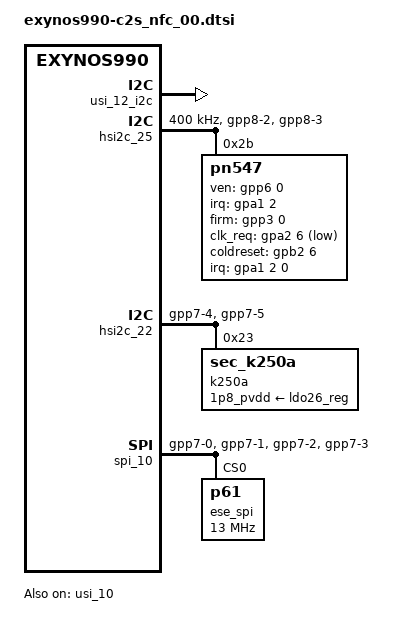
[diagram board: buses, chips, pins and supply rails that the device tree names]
/* Copyright (c) 2013, Samsung Electronics Corporation. All rights reserved.
 *
 * This program is free software; you can redistribute it and/or modify
 * it under the terms of the GNU General Public License version 2 and
 * only version 2 as published by the Free Software Foundation.
 *
 * This program is distributed in the hope that it will be useful,
 * but WITHOUT ANY WARRANTY; without even the implied warranty of
 * MERCHANTABILITY or FITNESS FOR A PARTICULAR PURPOSE.  See the
 * GNU General Public License for more details.
 */

&usi_12_i2c {
	usi_v2_mode = "i2c";
	status = "okay";
};

&pinctrl_4 {	/*10430000*/
	nfc_firm: nfc_firm {
		samsung,pins = "gpp3-0";
		samsung,pin-function = <1>;
		samsung,pin-pud = <0>;
		samsung,pin-val = <0>;
		samsung,pin-con-pdn = <3>;
		samsung,pin-pud-pdn = <0>;
	};
};

&pinctrl_5 {	/*10730000*/
	nfc_pd: nfc_pd {
		samsung,pins = "gpp6-0";
		samsung,pin-function = <1>;
		samsung,pin-pud = <0>;
		samsung,pin-val = <0>;
		samsung,pin-con-pdn = <3>;
		samsung,pin-pud-pdn = <0>;
	};

	/* PERIC1 USI12_I2C */
	hsi2c25_nfc: hsi2c25-nfc {
		samsung,pins = "gpp8-2", "gpp8-3";
		samsung,pin-function = <3>;
		samsung,pin-pud = <0>;
		samsung,pin-drv = <0>;
		samsung,pin-con-pdn = <2>;
		samsung,pin-pud-pdn = <0>;
	};

	/* peric1 usi11 */
	hsi2c22_nvm_on: hsi2c22-nvm-on {
		samsung,pins = "gpp7-4", "gpp7-5";
		samsung,pin-function = <2>;
		samsung,pin-pud = <0>;
		samsung,pin-drv = <0>;
		samsung,pin-con-pdn = <2>;
		samsung,pin-pud-pdn = <0>;
	};
	hsi2c22_nvm_off: hsi2c22-nvm-off {
		samsung,pins = "gpp7-4", "gpp7-5";
		samsung,pin-function = <0>;
		samsung,pin-pud = <1>;
		samsung,pin-drv = <0>;
		samsung,pin-con-pdn = <2>;
		samsung,pin-pud-pdn = <1>;
	};
};
/* PERIC1 USI12_I2C */
&hsi2c_25 {
	status = "okay";
	clock-frequency = <400000>;

	pinctrl-names = "default";
	pinctrl-0 = <&hsi2c25_nfc>;

	pn547@2B {
		compatible = "pn547";
		reg = <0x2B>;

		interrupts = <2 0 0>;
		interrupt-parent = <&gpa1>;

		pn547,ven-gpio = <&gpp6 0 0>;
		pn547,irq-gpio = <&gpa1 2 0>;
		pn547,firm-gpio = <&gpp3 0 0>;
		pn547,clk_req-gpio = <&gpa2 6 0xf>;
		pn547,nfc_pvdd = "VDD_NFC_1P8";
		pn547,coldreset-gpio = <&gpb2 6 0>;

		clocks = <&clock OSC_NFC>;
		clock-names = "oscclk_nfc";
		clkctrl-pmu = <0x15860a0c>;
		pn547,nfc_ap_clk;
		pn547,ldo_control;

		pinctrl-names = "default";
		pinctrl-0 = <&nfc_pd &nfc_firm>;
	};
};

&hsi2c_22 {
	status = "okay";
	pinctrl-names = "default", "nvm_off";
	pinctrl-0 = <&hsi2c22_nvm_on>;
	pinctrl-1 = <&hsi2c22_nvm_off>;

	k250a@23 {
		status = "ok";
		compatible = "sec_k250a";
		1p8_pvdd-supply = <&ldo26_reg>;
		reg = <0x23>;
	};
};

&pinctrl_5 {
	spi10_bus_suspend: spi10-bus-suspend {
		samsung,pins = "gpp7-1", "gpp7-0";
		samsung,pin-function = <1>;	/* OUT */
		samsung,pin-pud = <1>;		/* DOWN */
		samsung,pin-drv = <0>;
		samsung,pin-val = <0>;
		samsung,pin-con-pdn = <3>;
		samsung,pin-pud-pdn = <1>;
	};
	spi10_miso_suspend: spi10-miso-suspend {
		samsung,pins = "gpp7-2";
		samsung,pin-function = <0>;	/* INPUT */
		samsung,pin-pud = <0>;		/* NONE */
		samsung,pin-drv = <0>;
		samsung,pin-con-pdn = <3>;
		samsung,pin-pud-pdn = <0>;
	};
	spi10_cs_suspend: spi10-cs-suspend {
		samsung,pins = "gpp7-3";
		samsung,pin-function = <1>;	/* OUTPUT */
		samsung,pin-pud = <1>;		/* DOWN */
		samsung,pin-drv = <0>;
		samsung,pin-val = <1>;
		samsung,pin-con-pdn = <3>;
		samsung,pin-pud-pdn = <1>;
	};
	spi10_lpm_suspend: spi10-lpm-suspend {
		samsung,pins = "gpp7-0", "gpp7-1", "gpp7-2", "gpp7-3";
		samsung,pin-function = <1>;	/* OUTPUT */
		samsung,pin-pud = <1>;		/* DOWN */
		samsung,pin-drv = <0>;
		samsung,pin-val = <0>;
	};
};

&usi_10 {
	usi_v2_mode = "spi";
	status = "okay";
};

/* SPI USI_PERIC1_USI10_SPI */
&spi_10 {
	status = "okay";
	/delete-property/ pinctrl-names;
	/delete-property/ pinctrl-0;
	pinctrl-names = "default", "ese_on", "ese_off", "ese_lpm";
	pinctrl-0 = <&spi10_lpm_suspend>;
	pinctrl-1 = <&spi10_bus &spi10_cs_func>;
	pinctrl-2 = <&spi10_bus_suspend &spi10_miso_suspend &spi10_cs_suspend>;
	pinctrl-3 = <&spi10_lpm_suspend>;

	ese_spi@0 {
		compatible = "p61";
		reg = <0>;
		spi-max-frequency = <13000000>;
		gpio-controller;
		#gpio-cells = <2>;

		/*p3-vdd-1p8= "VDD_ESE_SEN4";*/
		p61-ap_vendor = "slsi";
		p61-spi_node = <&spi_10>;

		clocks = <&clock GATE_PERIC1_TOP1_QCH_USI10_USI>, <&clock DOUT_CLK_PERIC1_USI10_USI>;
		clock-names = "pclk", "sclk";
		/*ese_p3,cs-gpio = <&gpp7 3 0>;*/

		controller-data {
			samsung,spi-feedback-delay = <0>;
			samsung,spi-chip-select-mode = <0>;
		};
	};
};
